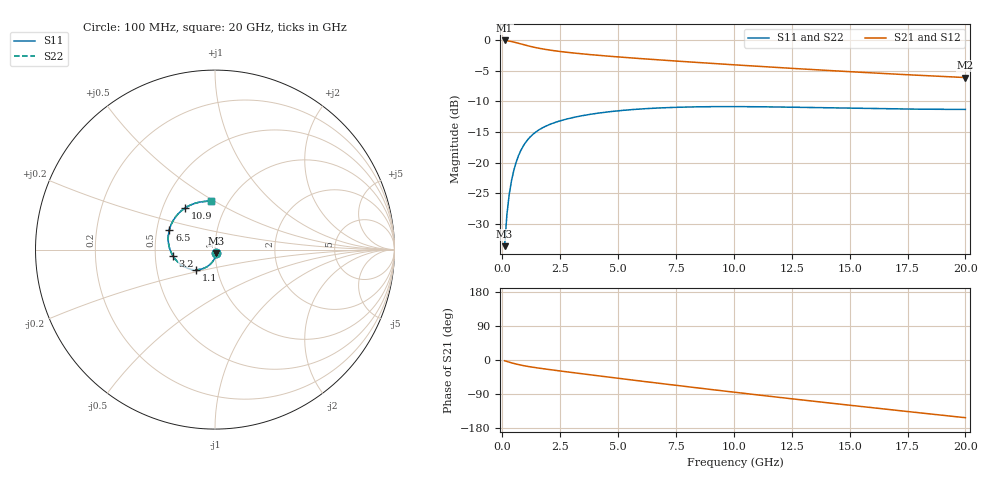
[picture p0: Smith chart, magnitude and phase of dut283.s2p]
! Touchstone file exported from HFSS 2023.1.0
!  File:  D:/Users/fzz/RDL_TSV/temp_RDL_TSV_283_1778762730.aedt
!  Generated:  8:55:33 %x4E0B%x5348  5%x6708 14, 2026
!  Design:  RDL_TSV
!  Project:  temp_RDL_TSV_283_1778762730
!  Setup:  Setup1
!  Solution:  Sweep
! Variables:
!  dtsv = 24.78um
!  hbump = 3um
!  htsv = 87.57um
!  ldown = 101.64um
!  lrdl = 242.51um
!  p = 40
!  p1 = 53.52um
!  rhole = 10um
!  subl = 1274.96um
!  t = 450um
!  tdown = 2.09um
!  trdl = 2.59um
!  viad = 10um
!  wdown = 12.82um
!  wrdl = 25.58um
!  xbump = 18um
# GHz S MA R 50.000000
! Terminal data exported
! Port[1] = TM1_1_T1
! Port[2] = TM1_4_T1
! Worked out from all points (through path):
!   200 points, 100 MHz to 20 GHz, reference 50 ohm
!   highest |S21| = -0.10 dB at 100 MHz (marker M1); lowest = -6.1 dB at 20 GHz (marker M2)
!   group delay of S21, straight-line fit = 20 ps
!   lowest |S11| = -33.6 dB at 100 MHz (marker M3), VSWR 1.04, Z = 50.8 - j1.96 ohm
!   |S11| at or under -10 dB: start of sweep to end of sweep
!   |S22| runs from -33.6 to -10.9 dB; largest |S21 - S12| = 3.7e-14
!   S11 on the Smith chart (normalised r, x): 100 MHz: 1.02, -0.04; 1.1 GHz: 0.79, -0.18; 3.2 GHz: 0.62, -0.05; 6.5 GHz: 0.58, +0.14; 10.9 GHz: 0.65, +0.33; 20 GHz: 0.83, +0.48
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0.1  0.02088 -67.3  0.9887 -2.0  0.9887 -2.0  0.02088 -67.3
! Gamma 0 0 0 0
! Port Impedance 50 0 50 0
0.2  0.03798 -85.6  0.9843 -3.9  0.9843 -3.9  0.03797 -85.6
0.3  0.05518 -95.3  0.9775 -5.8  0.9775 -5.8  0.05516 -95.3
0.4  0.0716 -102.4  0.969 -7.5  0.969 -7.5  0.07159 -102.4
0.5  0.08695 -108.3  0.9592 -9.2  0.9592 -9.2  0.08693 -108.3
0.7  0.1139 -118.2  0.9375 -12.1  0.9375 -12.1  0.1139 -118.2
0.9  0.1361 -126.2  0.9155 -14.7  0.9155 -14.7  0.1361 -126.3
1.1  0.154 -133.0  0.8949 -16.9  0.8949 -16.9  0.154 -133.0
1.5  0.1805 -143.8  0.8604 -20.7  0.8604 -20.7  0.1805 -143.8
1.9  0.1991 -152.1  0.8338 -24.2  0.8338 -24.2  0.1991 -152.1
3.2  0.2361 -171.0  0.7771 -34.5  0.7771 -34.5  0.2361 -171.0
3.5  0.2421 -174.6  0.7673 -36.8  0.7673 -36.8  0.2421 -174.6
5  0.2643 169.9  0.7261 -48.2  0.7261 -48.2  0.2644 169.9
6.5  0.2772 156.5  0.6923 -59.5  0.6923 -59.5  0.2773 156.5
6.8  0.279 154.1  0.6861 -61.7  0.6861 -61.7  0.2791 154.0
8.4  0.2848 141.9  0.6549 -73.4  0.6549 -73.4  0.2848 141.9
10.1  0.286 130.7  0.6247 -85.6  0.6247 -85.6  0.2861 130.7
10.9  0.2854 126.1  0.6113 -91.2  0.6113 -91.2  0.2855 126.1
13.4  0.281 113.8  0.5728 -108.5  0.5728 -108.5  0.2811 113.8
15.1  0.2773 107.3  0.5493 -120.0  0.5493 -120.0  0.2774 107.3
16.7  0.2744 102.2  0.5292 -130.7  0.5292 -130.7  0.2745 102.2
20  0.2713 94.4  0.4933 -152.3  0.4933 -152.3  0.2715 94.4
